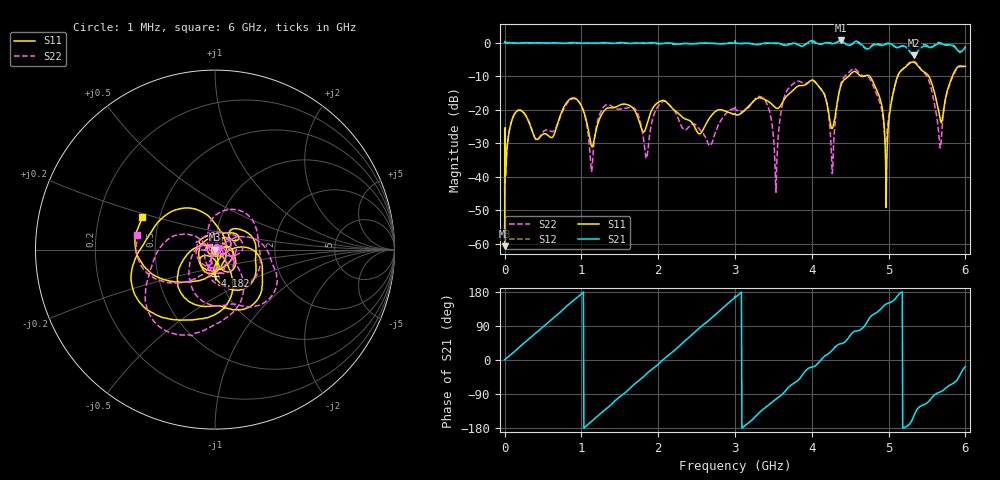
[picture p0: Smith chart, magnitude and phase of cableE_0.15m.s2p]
# GHZ S RI R 50.000000000000
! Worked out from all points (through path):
!   1001 points, 1 MHz to 6 GHz, reference 50 ohm
!   highest |S21| = 0.65 dB at 4.374 GHz (marker M1); lowest = -3.8 dB at 5.328 GHz (marker M2)
!   lowest |S11| = -60.7 dB at 1 MHz (marker M3), VSWR 1.00, Z = 50 - j0.0874 ohm
!   |S11| at or under -10 dB: start of sweep to 4.48 GHz; 4.753 GHz to 5.118 GHz (364.6 MHz wide, 7.39 % of centre); 5.523 GHz to 5.831 GHz (308.1 MHz wide, 5.43 % of centre)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
!   |S22| runs from -44.7 to -5.5 dB; largest |S21 - S12| = 0.091
!   S11 on the Smith chart (normalised r, x): 1 MHz: 1.00, -0.00; 4.182 GHz: 0.96, -0.28; 6 GHz: 0.40, +0.18
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0.001  0.000283 -0.000873  1.004 0.00817  0.9999 -0.00197  0.00577 0.00107
0.036994  0.00736 0.0293  0.9916 0.1128  0.9914 0.1119  0.0078 0.029
0.144976  0.0612 0.0674  0.8902 0.4163  0.8901 0.4171  0.0629 0.0667
0.552908  -0.0377 0.019  -0.1101 0.9781  -0.1128 0.9782  -0.0427 0.0255
1.002833  0.0347 -0.1074  -0.9797 0.0886  -0.9783 0.0829  0.00301 -0.1113
1.134811  0.0226 -0.0167  -0.9381 -0.3075  -0.9336 -0.3156  -0.00962 0.00713
1.512748  -0.0121 -0.1183  -0.0936 -0.9953  -0.0938 -0.9976  0.00725 -0.1021
1.848692  -0.00207 -0.057  0.7855 -0.5796  0.7919 -0.5955  0.00915 0.0164
2.004666  -0.0104 -0.1283  0.9562 -0.1804  0.9411 -0.1702  0.0542 -0.1009
2.544576  -0.0296 0.0321  0.0732 0.9732  0.0606 0.9709  0.00247 0.05
3.0005  -0.0365 0.0792  -0.984 0.1923  -1.031 0.2705  -0.1055 0.0408
3.378437  0.1313 0.0584  -0.6063 -0.7735  -0.5936 -0.7595  0.1421 -0.0152
3.534411  0.0886 0.0575  -0.2231 -0.9627  -0.2188 -0.9437  0.00257 0.00526
3.666389  0.1046 0.1172  0.17 -0.8982  0.1877 -0.9184  -0.00695 0.183
4.002333  0.2005 -0.1898  1.018 -0.3442  0.9684 -0.3379  0.2299 -0.1459
4.182303  -0.000219 -0.1454  0.9748 0.2091  0.9644 0.2235  -0.0317 -0.1425
4.272288  0.0445 -0.0296  0.8593 0.4369  0.8735 0.4463  0.0127 -0.000894
4.374271  0.2199 -0.00825  0.7929 0.7307  0.769 0.7016  0.226 0.0569
5.004166  0.0501 -0.0491  -0.8514 0.4768  -0.8453 0.46  0.08 -0.0265
5.328112  -0.454 -0.2319  -0.5459 -0.3438  -0.5293 -0.3787  -0.3305 -0.4104
5.670055  0.0577 0.0466  0.0943 -0.9662  0.0788 -0.9995  -0.0267 -0.00405
6  -0.4039 0.1822  0.8078 -0.2502  0.8538 -0.2007  -0.4348 0.0794
